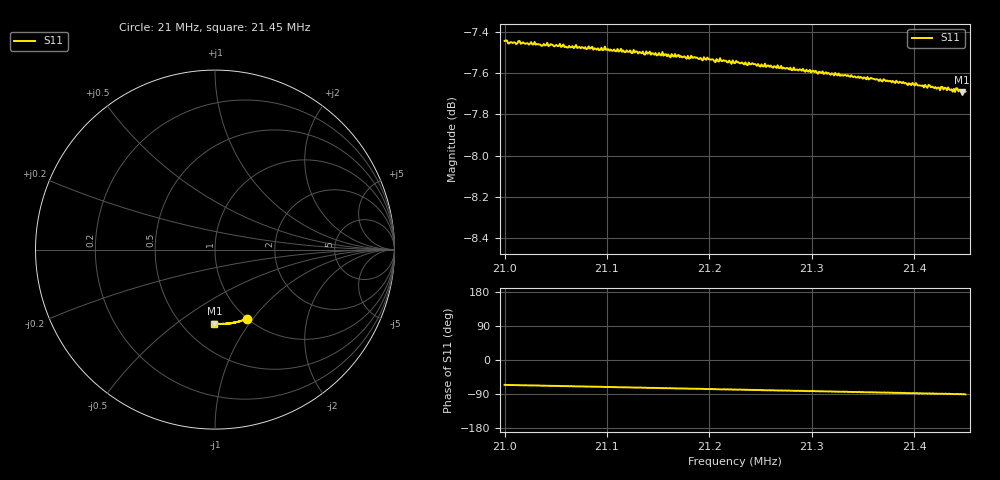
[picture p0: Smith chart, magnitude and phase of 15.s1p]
# Hz S RI R 50
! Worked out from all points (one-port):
!   401 points, 21 MHz to 21.45 MHz, reference 50 ohm
!   lowest |S11| = -7.7 dB at 21.447 MHz (marker M1), VSWR 2.40, Z = 35.2 - j35 ohm
!   |S11| at or under -10 dB: nowhere
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2.1e7  0.1757 -0.3864
2.105625e7  0.1527 -0.3947
2.11125e7  0.131 -0.4013
2.116875e7  0.109 -0.4067
2.121938e7  0.0878 -0.4106
2.1225e7  0.0867 -0.4102
2.127562e7  0.0651 -0.413
2.128125e7  0.0645 -0.4126
2.130375e7  0.0536 -0.414
2.130938e7  0.0533 -0.4135
2.131612e7  0.0488 -0.4141
2.132512e7  0.0457 -0.4139
2.133188e7  0.0424 -0.4143
2.13375e7  0.0425 -0.4139
2.136e7  0.031 -0.4144
2.136562e7  0.0313 -0.4139
2.137238e7  0.0261 -0.4142
2.138138e7  0.0236 -0.4139
2.138812e7  0.0197 -0.4141
2.139375e7  0.0203 -0.4136
2.140388e7  0.0135 -0.4138
2.141175e7  0.0134 -0.4136
2.141625e7  0.00858 -0.4135
2.142188e7  0.00937 -0.4132
2.1432e7  0.0022 -0.4129
2.143762e7  0.00163 -0.4126
2.144662e7  -0.00368 -0.4124
2.145e7  -0.0051 -0.4126
